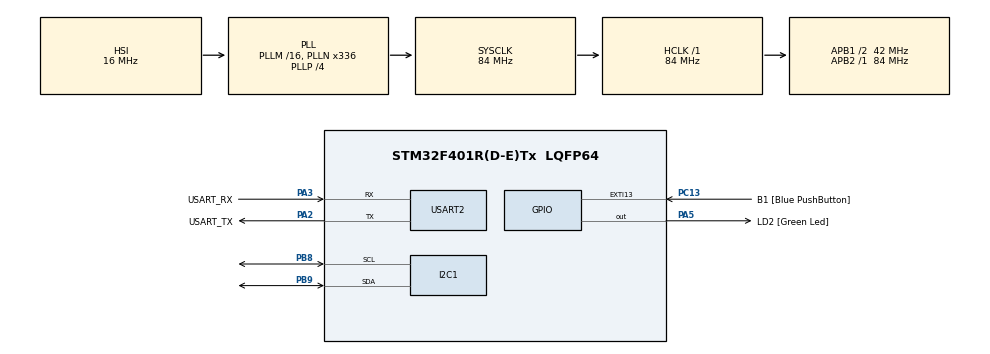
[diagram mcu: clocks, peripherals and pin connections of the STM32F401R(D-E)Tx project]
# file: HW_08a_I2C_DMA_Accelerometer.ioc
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Dma.I2C1_RX.0.Direction=DMA_PERIPH_TO_MEMORY
Dma.I2C1_RX.0.FIFOMode=DMA_FIFOMODE_DISABLE
Dma.I2C1_RX.0.Instance=DMA1_Stream0
Dma.I2C1_RX.0.MemDataAlignment=DMA_MDATAALIGN_BYTE
Dma.I2C1_RX.0.MemInc=DMA_MINC_ENABLE
Dma.I2C1_RX.0.Mode=DMA_NORMAL
Dma.I2C1_RX.0.PeriphDataAlignment=DMA_PDATAALIGN_BYTE
Dma.I2C1_RX.0.PeriphInc=DMA_PINC_DISABLE
Dma.I2C1_RX.0.Priority=DMA_PRIORITY_HIGH
Dma.Request0=I2C1_RX
Dma.Request1=USART2_TX
Dma.USART2_TX.1.Direction=DMA_MEMORY_TO_PERIPH
Dma.USART2_TX.1.FIFOMode=DMA_FIFOMODE_DISABLE
Dma.USART2_TX.1.Instance=DMA1_Stream6
Dma.USART2_TX.1.MemDataAlignment=DMA_MDATAALIGN_BYTE
Dma.USART2_TX.1.MemInc=DMA_MINC_ENABLE
Dma.USART2_TX.1.Mode=DMA_NORMAL
Dma.USART2_TX.1.PeriphDataAlignment=DMA_PDATAALIGN_BYTE
Dma.USART2_TX.1.PeriphInc=DMA_PINC_DISABLE
Dma.USART2_TX.1.Priority=DMA_PRIORITY_HIGH
Mcu.Family=STM32F4
Mcu.Name=STM32F401R(D-E)Tx
Mcu.Package=LQFP64
NVIC.DMA1_Stream0_IRQn=true\:0\:0\:true\:false\:true\:false\:true\:true
NVIC.DMA1_Stream6_IRQn=true\:0\:0\:true\:false\:true\:false\:true\:true
NVIC.I2C1_ER_IRQn=true\:0\:0\:false\:false\:true\:true\:true\:true
NVIC.I2C1_EV_IRQn=true\:0\:0\:false\:false\:true\:true\:true\:true
NVIC.PriorityGroup=NVIC_PRIORITYGROUP_0
NVIC.TIM2_IRQn=true\:0\:0\:false\:false\:true\:true\:true\:true
NVIC.USART2_IRQn=true\:0\:0\:false\:false\:true\:true\:true\:true
PA13.GPIO_Label=TMS
PA13.Mode=Serial_Wire
PA13.Signal=SYS_JTMS-SWDIO
PA14.GPIO_Label=TCK
PA14.Mode=Serial_Wire
PA14.Signal=SYS_JTCK-SWCLK
PA2.GPIO_Label=USART_TX
PA2.GPIO_Mode=GPIO_MODE_AF_PP
PA2.GPIO_PuPd=GPIO_NOPULL
PA2.GPIO_Speed=GPIO_SPEED_FREQ_LOW
PA2.Mode=Asynchronous
PA2.Signal=USART2_TX
PA3.GPIO_Label=USART_RX
PA3.GPIO_Mode=GPIO_MODE_AF_PP
PA3.GPIO_PuPd=GPIO_NOPULL
PA3.GPIO_Speed=GPIO_SPEED_FREQ_LOW
PA3.Mode=Asynchronous
PA3.Signal=USART2_RX
PA5.GPIO_Label=LD2 [Green Led]
PA5.GPIO_Mode=GPIO_MODE_OUTPUT_PP
PA5.GPIO_PuPd=GPIO_NOPULL
PA5.GPIO_Speed=GPIO_SPEED_FREQ_LOW
PA5.Signal=GPIO_Output
PB3.GPIO_Label=SWO
PB3.Signal=SYS_JTDO-SWO
PB8.Mode=I2C
PB8.Signal=I2C1_SCL
PB9.Mode=I2C
PB9.Signal=I2C1_SDA
PC13-ANTI_TAMP.GPIO_Label=B1 [Blue PushButton]
PC13-ANTI_TAMP.GPIO_ModeDefaultEXTI=GPIO_MODE_IT_FALLING
PC13-ANTI_TAMP.GPIO_PuPd=GPIO_NOPULL
PC13-ANTI_TAMP.Signal=GPXTI13
PC14-OSC32_IN.Mode=LSE-External-Oscillator
PC14-OSC32_IN.Signal=RCC_OSC32_IN
PC15-OSC32_OUT.Mode=LSE-External-Oscillator
PC15-OSC32_OUT.Signal=RCC_OSC32_OUT
PH0\ -\ OSC_IN.Mode=HSE-External-Clock-Source
PH0\ -\ OSC_IN.Signal=RCC_OSC_IN
PH1\ -\ OSC_OUT.Mode=HSE-External-Clock-Source
PH1\ -\ OSC_OUT.Signal=RCC_OSC_OUT
ProjectManager.HeapSize=0x200
ProjectManager.StackSize=0x400
ProjectManager.TargetToolchain=STM32CubeIDE
RCC.48MHZClocksFreq_Value=48000000
RCC.AHBFreq_Value=84000000
RCC.APB1CLKDivider=RCC_HCLK_DIV2
RCC.APB1Freq_Value=42000000
RCC.APB1TimFreq_Value=84000000
RCC.APB2Freq_Value=84000000
RCC.APB2TimFreq_Value=84000000
RCC.CortexFreq_Value=84000000
RCC.HCLKFreq_Value=84000000
RCC.HSE_VALUE=8000000
RCC.HSI_VALUE=16000000
RCC.PLLN=336
RCC.PLLP=RCC_PLLP_DIV4
RCC.PLLQ=7
RCC.SYSCLKFreq_VALUE=84000000
RCC.SYSCLKSource=RCC_SYSCLKSOURCE_PLLCLK
RCC.VCOOutputFreq_Value=336000000
TIM2.Period=10000-1
TIM2.Prescaler=8400-1
USART2.VirtualMode=VM_ASYNC
VP_TIM2_VS_ClockSourceINT.Mode=Internal
board=NUCLEO-F401RE

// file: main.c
/* USER CODE BEGIN Header */
/**
  ******************************************************************************
  * @file           : main.c
  * @brief          : Main program body
  ******************************************************************************
  * @attention
  *
  * Copyright (c) 2024 STMicroelectronics.
  * All rights reserved.
  *
  * This software is licensed under terms that can be found in the LICENSE file
  * in the root directory of this software component.
  * If no LICENSE file comes with this software, it is provided AS-IS.
  *
  ******************************************************************************
  */
/* USER CODE END Header */
#include "main.h"

/* USER CODE BEGIN Includes */

#include "stdio.h"
#include "string.h"

/* USER CODE END Includes */

I2C_HandleTypeDef hi2c1;
DMA_HandleTypeDef hdma_i2c1_rx;

TIM_HandleTypeDef htim2;

UART_HandleTypeDef huart2;
DMA_HandleTypeDef hdma_usart2_tx;

/* USER CODE BEGIN PV */

uint8_t LIS2DE_ADDRESS = 0b01010000;

uint8_t CTRL_REG1[] = {0x20, 0b00010111};
uint8_t CTRL_REG2[] = {0x21, 0b00000000};
uint8_t CTRL_REG4[] = {0x23, 0b00000000};

uint8_t OUT_X_ADDRESS = 0b10101001; //MSB messo a 1 per multiple read protocol

int8_t data_in[5]; //salvo 5 bytes perché tra OUT_X e OUT_Y e tra OUT_Y e OUT_Z ci sono dei registri che non mi servono

char string[64];
int length = 0;

/* USER CODE END PV */

void SystemClock_Config(void);
static void MX_GPIO_Init(void);
static void MX_DMA_Init(void);
static void MX_USART2_UART_Init(void);
static void MX_I2C1_Init(void);
static void MX_TIM2_Init(void);

/* USER CODE BEGIN 0 */

void HAL_TIM_PeriodElapsedCallback(TIM_HandleTypeDef *htim){
	if(htim == &htim2){

		HAL_I2C_Master_Receive_DMA(&hi2c1, LIS2DE_ADDRESS+1, data_in, 5);

	}
}

void HAL_I2C_MasterRxCpltCallback(I2C_HandleTypeDef *hi2c){
	if(hi2c == &hi2c1){

		float acc_g_x = data_in[0] / 64.0; //sensitivity = 4/256 = 1/64
		float acc_g_y = data_in[2] / 64.0;
		float acc_g_z = data_in[4] / 64.0;

		length = snprintf(string, sizeof(string), "X: %+.2f g\r\nY: %+.2f g\r\nZ: %+.2f g\r\n\r\n", acc_g_x, acc_g_y, acc_g_z);

		HAL_UART_Transmit_DMA(&huart2, string, length);
	}
}

/* USER CODE END 0 */

int main(void)
{

  /* MCU Configuration--------------------------------------------------------*/

  /* Reset of all peripherals, Initializes the Flash interface and the Systick. */
  HAL_Init();

  /* Configure the system clock */
  SystemClock_Config();

  /* Initialize all configured peripherals */
  MX_GPIO_Init();
  MX_DMA_Init();
  MX_USART2_UART_Init();
  MX_I2C1_Init();
  MX_TIM2_Init();
  /* USER CODE BEGIN 2 */

  HAL_I2C_Master_Transmit(&hi2c1, LIS2DE_ADDRESS, CTRL_REG1, sizeof(CTRL_REG1), 50);
  HAL_I2C_Master_Transmit(&hi2c1, LIS2DE_ADDRESS, CTRL_REG2, sizeof(CTRL_REG2), 50);
  HAL_I2C_Master_Transmit(&hi2c1, LIS2DE_ADDRESS, CTRL_REG4, sizeof(CTRL_REG4), 50);
  HAL_I2C_Master_Transmit(&hi2c1, LIS2DE_ADDRESS, &OUT_X_ADDRESS, 1, 50);
  __HAL_TIM_CLEAR_IT(&htim2, TIM_IT_UPDATE);
  HAL_TIM_Base_Start_IT(&htim2); //start the timer

  /* USER CODE END 2 */

  /* Infinite loop */
  while (1)
  {

  }
}

void SystemClock_Config(void)
{
  RCC_OscInitTypeDef RCC_OscInitStruct = {0};
  RCC_ClkInitTypeDef RCC_ClkInitStruct = {0};

  /** Configure the main internal regulator output voltage
  */
  __HAL_RCC_PWR_CLK_ENABLE();
  __HAL_PWR_VOLTAGESCALING_CONFIG(PWR_REGULATOR_VOLTAGE_SCALE2);

  /** Initializes the RCC Oscillators according to the specified parameters
  * in the RCC_OscInitTypeDef structure.
  */
  RCC_OscInitStruct.OscillatorType = RCC_OSCILLATORTYPE_HSI;
  RCC_OscInitStruct.HSIState = RCC_HSI_ON;
  RCC_OscInitStruct.HSICalibrationValue = RCC_HSICALIBRATION_DEFAULT;
  RCC_OscInitStruct.PLL.PLLState = RCC_PLL_ON;
  RCC_OscInitStruct.PLL.PLLSource = RCC_PLLSOURCE_HSI;
  RCC_OscInitStruct.PLL.PLLM = 16;
  RCC_OscInitStruct.PLL.PLLN = 336;
  RCC_OscInitStruct.PLL.PLLP = RCC_PLLP_DIV4;
  RCC_OscInitStruct.PLL.PLLQ = 7;
  if (HAL_RCC_OscConfig(&RCC_OscInitStruct) != HAL_OK)
  {
    Error_Handler();
  }

  /** Initializes the CPU, AHB and APB buses clocks
  */
  RCC_ClkInitStruct.ClockType = RCC_CLOCKTYPE_HCLK|RCC_CLOCKTYPE_SYSCLK
                              |RCC_CLOCKTYPE_PCLK1|RCC_CLOCKTYPE_PCLK2;
  RCC_ClkInitStruct.SYSCLKSource = RCC_SYSCLKSOURCE_PLLCLK;
  RCC_ClkInitStruct.AHBCLKDivider = RCC_SYSCLK_DIV1;
  RCC_ClkInitStruct.APB1CLKDivider = RCC_HCLK_DIV2;
  RCC_ClkInitStruct.APB2CLKDivider = RCC_HCLK_DIV1;

  if (HAL_RCC_ClockConfig(&RCC_ClkInitStruct, FLASH_LATENCY_2) != HAL_OK)
  {
    Error_Handler();
  }
}

static void MX_I2C1_Init(void)
{

  hi2c1.Instance = I2C1;
  hi2c1.Init.ClockSpeed = 100000;
  hi2c1.Init.DutyCycle = I2C_DUTYCYCLE_2;
  hi2c1.Init.OwnAddress1 = 0;
  hi2c1.Init.AddressingMode = I2C_ADDRESSINGMODE_7BIT;
  hi2c1.Init.DualAddressMode = I2C_DUALADDRESS_DISABLE;
  hi2c1.Init.OwnAddress2 = 0;
  hi2c1.Init.GeneralCallMode = I2C_GENERALCALL_DISABLE;
  hi2c1.Init.NoStretchMode = I2C_NOSTRETCH_DISABLE;
  if (HAL_I2C_Init(&hi2c1) != HAL_OK)
  {
    Error_Handler();
  }

}

static void MX_TIM2_Init(void)
{

  TIM_ClockConfigTypeDef sClockSourceConfig = {0};
  TIM_MasterConfigTypeDef sMasterConfig = {0};

  htim2.Instance = TIM2;
  htim2.Init.Prescaler = 8400-1;
  htim2.Init.CounterMode = TIM_COUNTERMODE_UP;
  htim2.Init.Period = 10000-1;
  htim2.Init.ClockDivision = TIM_CLOCKDIVISION_DIV1;
  htim2.Init.AutoReloadPreload = TIM_AUTORELOAD_PRELOAD_DISABLE;
  if (HAL_TIM_Base_Init(&htim2) != HAL_OK)
  {
    Error_Handler();
  }
  sClockSourceConfig.ClockSource = TIM_CLOCKSOURCE_INTERNAL;
  if (HAL_TIM_ConfigClockSource(&htim2, &sClockSourceConfig) != HAL_OK)
  {
    Error_Handler();
  }
  sMasterConfig.MasterOutputTrigger = TIM_TRGO_RESET;
  sMasterConfig.MasterSlaveMode = TIM_MASTERSLAVEMODE_DISABLE;
  if (HAL_TIMEx_MasterConfigSynchronization(&htim2, &sMasterConfig) != HAL_OK)
  {
    Error_Handler();
  }

}

static void MX_USART2_UART_Init(void)
{

  huart2.Instance = USART2;
  huart2.Init.BaudRate = 115200;
  huart2.Init.WordLength = UART_WORDLENGTH_8B;
  huart2.Init.StopBits = UART_STOPBITS_1;
  huart2.Init.Parity = UART_PARITY_NONE;
  huart2.Init.Mode = UART_MODE_TX_RX;
  huart2.Init.HwFlowCtl = UART_HWCONTROL_NONE;
  huart2.Init.OverSampling = UART_OVERSAMPLING_16;
  if (HAL_UART_Init(&huart2) != HAL_OK)
  {
    Error_Handler();
  }

}

static void MX_DMA_Init(void)
{

  /* DMA controller clock enable */
  __HAL_RCC_DMA1_CLK_ENABLE();

  /* DMA interrupt init */
  /* DMA1_Stream0_IRQn interrupt configuration */
  HAL_NVIC_SetPriority(DMA1_Stream0_IRQn, 0, 0);
  HAL_NVIC_EnableIRQ(DMA1_Stream0_IRQn);
  /* DMA1_Stream6_IRQn interrupt configuration */
  HAL_NVIC_SetPriority(DMA1_Stream6_IRQn, 0, 0);
  HAL_NVIC_EnableIRQ(DMA1_Stream6_IRQn);

}

static void MX_GPIO_Init(void)
{
  GPIO_InitTypeDef GPIO_InitStruct = {0};

  /* GPIO Ports Clock Enable */
  __HAL_RCC_GPIOC_CLK_ENABLE();
  __HAL_RCC_GPIOH_CLK_ENABLE();
  __HAL_RCC_GPIOA_CLK_ENABLE();
  __HAL_RCC_GPIOB_CLK_ENABLE();

  /*Configure GPIO pin Output Level */
  HAL_GPIO_WritePin(LD2_GPIO_Port, LD2_Pin, GPIO_PIN_RESET);

  /*Configure GPIO pin : B1_Pin */
  GPIO_InitStruct.Pin = B1_Pin;
  GPIO_InitStruct.Mode = GPIO_MODE_IT_FALLING;
  GPIO_InitStruct.Pull = GPIO_NOPULL;
  HAL_GPIO_Init(B1_GPIO_Port, &GPIO_InitStruct);

  /*Configure GPIO pin : LD2_Pin */
  GPIO_InitStruct.Pin = LD2_Pin;
  GPIO_InitStruct.Mode = GPIO_MODE_OUTPUT_PP;
  GPIO_InitStruct.Pull = GPIO_NOPULL;
  GPIO_InitStruct.Speed = GPIO_SPEED_FREQ_LOW;
  HAL_GPIO_Init(LD2_GPIO_Port, &GPIO_InitStruct);

}

void Error_Handler(void)
{
  __disable_irq();
  while (1)
  {
  }
}
